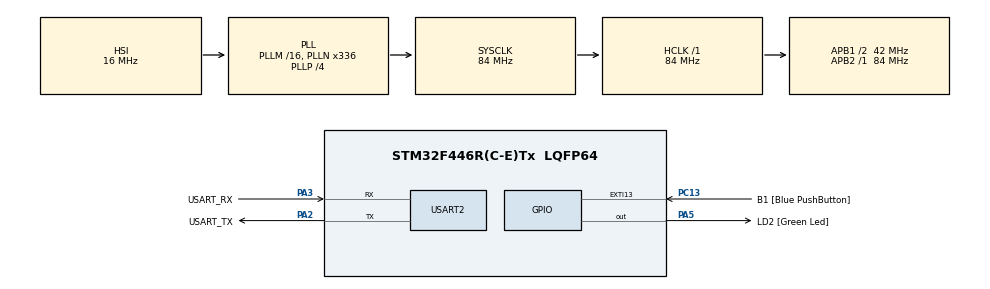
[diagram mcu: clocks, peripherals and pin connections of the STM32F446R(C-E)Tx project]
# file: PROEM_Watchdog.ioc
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Mcu.Family=STM32F4
Mcu.Name=STM32F446R(C-E)Tx
Mcu.Package=LQFP64
NVIC.PriorityGroup=NVIC_PRIORITYGROUP_0
PA13.GPIO_Label=TMS
PA13.Mode=Serial_Wire
PA13.Signal=SYS_JTMS-SWDIO
PA14.GPIO_Label=TCK
PA14.Mode=Serial_Wire
PA14.Signal=SYS_JTCK-SWCLK
PA2.GPIO_Label=USART_TX
PA2.Mode=Asynchronous
PA2.Signal=USART2_TX
PA3.GPIO_Label=USART_RX
PA3.Mode=Asynchronous
PA3.Signal=USART2_RX
PA5.GPIO_Label=LD2 [Green Led]
PA5.Signal=GPIO_Output
PB3.GPIO_Label=SWO
PB3.Signal=SYS_JTDO-SWO
PC13.GPIO_Label=B1 [Blue PushButton]
PC13.GPIO_ModeDefaultEXTI=GPIO_MODE_IT_FALLING
PC13.Signal=GPXTI13
PC14-OSC32_IN.Mode=LSE-External-Oscillator
PC14-OSC32_IN.Signal=RCC_OSC32_IN
PC15-OSC32_OUT.Mode=LSE-External-Oscillator
PC15-OSC32_OUT.Signal=RCC_OSC32_OUT
PH0-OSC_IN.Mode=HSE-External-Oscillator
PH0-OSC_IN.Signal=RCC_OSC_IN
PH1-OSC_OUT.Mode=HSE-External-Oscillator
PH1-OSC_OUT.Signal=RCC_OSC_OUT
ProjectManager.HeapSize=0x200
ProjectManager.StackSize=0x400
ProjectManager.TargetToolchain=STM32CubeIDE
RCC.48MHZClocksFreq_Value=84000000
RCC.AHBFreq_Value=84000000
RCC.APB1CLKDivider=RCC_HCLK_DIV2
RCC.APB1Freq_Value=42000000
RCC.APB1TimFreq_Value=84000000
RCC.APB2Freq_Value=84000000
RCC.APB2TimFreq_Value=84000000
RCC.CortexFreq_Value=84000000
RCC.FLatency-AdvancedSettings=FLASH_LATENCY_2
RCC.HCLKFreq_Value=84000000
RCC.HSE_VALUE=8000000
RCC.HSI_VALUE=16000000
RCC.PLLN=336
RCC.PLLP=RCC_PLLP_DIV4
RCC.SYSCLKFreq_VALUE=84000000
RCC.SYSCLKSource=RCC_SYSCLKSOURCE_PLLCLK
RCC.USBFreq_Value=168000000
RCC.VCOOutputFreq_Value=336000000
USART2.VirtualMode=VM_ASYNC
board=NUCLEO-F446RE

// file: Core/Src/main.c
/* USER CODE BEGIN Header */
/**
  ******************************************************************************
  * @file           : main.c
  * @brief          : Main program body
  ******************************************************************************
  * @attention
  *
  * Copyright (c) 2022 STMicroelectronics.
  * All rights reserved.
  *
  * This software is licensed under terms that can be found in the LICENSE file
  * in the root directory of this software component.
  * If no LICENSE file comes with this software, it is provided AS-IS.
  *
  ******************************************************************************
  */
/* USER CODE END Header */
#include "main.h"

UART_HandleTypeDef huart2;

void SystemClock_Config(void);
static void MX_GPIO_Init(void);
static void MX_USART2_UART_Init(void);
/* USER CODE BEGIN PFP */
void IWDT_Init(void);
/* USER CODE END PFP */

int main(void)
{

  /* MCU Configuration--------------------------------------------------------*/

  /* Reset of all peripherals, Initializes the Flash interface and the Systick. */
  HAL_Init();

  /* Configure the system clock */
  SystemClock_Config();

  /* Initialize all configured peripherals */
  MX_GPIO_Init();
  MX_USART2_UART_Init();
  /* USER CODE BEGIN 2 */

  int i = 0;
  //Mantém o led aceso por 2 segundos
  HAL_GPIO_WritePin(LD2_GPIO_Port, LD2_Pin, GPIO_PIN_SET);
  HAL_Delay(2000);
  //Habilita o Watchdog
  IWDT_Init();

  /* USER CODE END 2 */

  /* Infinite loop */
  /* USER CODE BEGIN WHILE */
  while (1)
  {
	  HAL_GPIO_TogglePin(LD2_GPIO_Port, LD2_Pin);
	  HAL_Delay(100);
	  i++;

	  /* Teste com recarga automática*/
//	  if(i==30)
//	  {
//		  i = 0;
//		  //Recarrega o watchdog
//		  IWDG->KR = 0xAAAA;
//	  }

	  /* Teste com recarga por B1  */
	  if(HAL_GPIO_ReadPin(B1_GPIO_Port, B1_Pin) == GPIO_PIN_RESET)
		  IWDG->KR = 0xAAAA;
    /* USER CODE END WHILE */

  }
}

void SystemClock_Config(void)
{
  RCC_OscInitTypeDef RCC_OscInitStruct = {0};
  RCC_ClkInitTypeDef RCC_ClkInitStruct = {0};

  /** Configure the main internal regulator output voltage
  */
  __HAL_RCC_PWR_CLK_ENABLE();
  __HAL_PWR_VOLTAGESCALING_CONFIG(PWR_REGULATOR_VOLTAGE_SCALE3);

  /** Initializes the RCC Oscillators according to the specified parameters
  * in the RCC_OscInitTypeDef structure.
  */
  RCC_OscInitStruct.OscillatorType = RCC_OSCILLATORTYPE_HSI;
  RCC_OscInitStruct.HSIState = RCC_HSI_ON;
  RCC_OscInitStruct.HSICalibrationValue = RCC_HSICALIBRATION_DEFAULT;
  RCC_OscInitStruct.PLL.PLLState = RCC_PLL_ON;
  RCC_OscInitStruct.PLL.PLLSource = RCC_PLLSOURCE_HSI;
  RCC_OscInitStruct.PLL.PLLM = 16;
  RCC_OscInitStruct.PLL.PLLN = 336;
  RCC_OscInitStruct.PLL.PLLP = RCC_PLLP_DIV4;
  RCC_OscInitStruct.PLL.PLLQ = 2;
  RCC_OscInitStruct.PLL.PLLR = 2;
  if (HAL_RCC_OscConfig(&RCC_OscInitStruct) != HAL_OK)
  {
    Error_Handler();
  }

  /** Initializes the CPU, AHB and APB buses clocks
  */
  RCC_ClkInitStruct.ClockType = RCC_CLOCKTYPE_HCLK|RCC_CLOCKTYPE_SYSCLK
                              |RCC_CLOCKTYPE_PCLK1|RCC_CLOCKTYPE_PCLK2;
  RCC_ClkInitStruct.SYSCLKSource = RCC_SYSCLKSOURCE_PLLCLK;
  RCC_ClkInitStruct.AHBCLKDivider = RCC_SYSCLK_DIV1;
  RCC_ClkInitStruct.APB1CLKDivider = RCC_HCLK_DIV2;
  RCC_ClkInitStruct.APB2CLKDivider = RCC_HCLK_DIV1;

  if (HAL_RCC_ClockConfig(&RCC_ClkInitStruct, FLASH_LATENCY_2) != HAL_OK)
  {
    Error_Handler();
  }
}

static void MX_USART2_UART_Init(void)
{

  huart2.Instance = USART2;
  huart2.Init.BaudRate = 115200;
  huart2.Init.WordLength = UART_WORDLENGTH_8B;
  huart2.Init.StopBits = UART_STOPBITS_1;
  huart2.Init.Parity = UART_PARITY_NONE;
  huart2.Init.Mode = UART_MODE_TX_RX;
  huart2.Init.HwFlowCtl = UART_HWCONTROL_NONE;
  huart2.Init.OverSampling = UART_OVERSAMPLING_16;
  if (HAL_UART_Init(&huart2) != HAL_OK)
  {
    Error_Handler();
  }

}

static void MX_GPIO_Init(void)
{
  GPIO_InitTypeDef GPIO_InitStruct = {0};

  /* GPIO Ports Clock Enable */
  __HAL_RCC_GPIOC_CLK_ENABLE();
  __HAL_RCC_GPIOH_CLK_ENABLE();
  __HAL_RCC_GPIOA_CLK_ENABLE();
  __HAL_RCC_GPIOB_CLK_ENABLE();

  /*Configure GPIO pin Output Level */
  HAL_GPIO_WritePin(LD2_GPIO_Port, LD2_Pin, GPIO_PIN_RESET);

  /*Configure GPIO pin : B1_Pin */
  GPIO_InitStruct.Pin = B1_Pin;
  GPIO_InitStruct.Mode = GPIO_MODE_IT_FALLING;
  GPIO_InitStruct.Pull = GPIO_NOPULL;
  HAL_GPIO_Init(B1_GPIO_Port, &GPIO_InitStruct);

  /*Configure GPIO pin : LD2_Pin */
  GPIO_InitStruct.Pin = LD2_Pin;
  GPIO_InitStruct.Mode = GPIO_MODE_OUTPUT_PP;
  GPIO_InitStruct.Pull = GPIO_NOPULL;
  GPIO_InitStruct.Speed = GPIO_SPEED_FREQ_LOW;
  HAL_GPIO_Init(LD2_GPIO_Port, &GPIO_InitStruct);

}

/* USER CODE BEGIN 4 */

/**
 * @brief Inicializa o IWDG via registradores
 */
void IWDT_Init(void)
{
	/* Configuração para 4,096s */
//	//período = (1/32000) * prescaler * (reload + 1)
//	//período = (1/32000) * 32 * (0xFFF + 1) = 4,096 s
//	//Habilita configuração
//	IWDG->KR = 0x5555;
//	//Define o valor de recarga
//	IWDG->RLR = 0xFFF;
//	//Define o valor de prescaler (vide tabela: 32)
//	IWDG->PR = 3;
//	//Sai da config. (qualquer valor dif. de 0x5555 serve)
//	IWDG->KR = 0xAAAA;
//	//Habilita o funcionamento
//	IWDG->KR = 0xCCCC;

	/* Configuração para 5s */
	//período = (1/32000) * prescaler * (reload + 1)
	//período = (1/32000) * 64 * (0x9C3 + 1) = 5 s
	//Habilita configuração
	IWDG->KR = 0x5555;
	//Define o valor de recarga
	IWDG->RLR = 0x9C3;
	//Define o valor de prescaler (vide tabela: 64)
	IWDG->PR = 4;
	//Sai da config. (qualquer valor dif. de 0x5555 serve)
	IWDG->KR = 0xAAAA;
	//Habilita o funcionamento
	IWDG->KR = 0xCCCC;
}

/* USER CODE END 4 */

void Error_Handler(void)
{
  __disable_irq();
  while (1)
  {
  }
}
